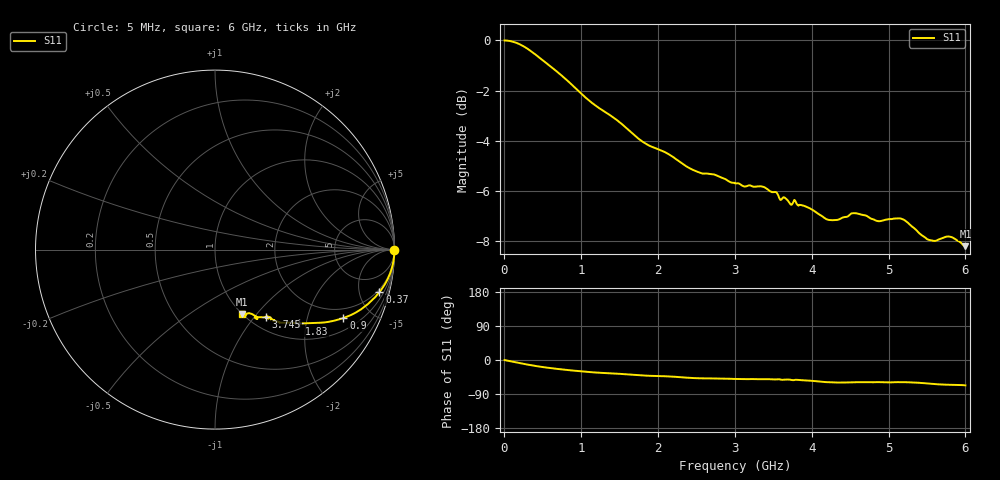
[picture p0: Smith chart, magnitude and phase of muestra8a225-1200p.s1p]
# Hz S RI R 50.000000
! Metas.Vna.Tools, 3.0.9519.15400
! Metas.Vna.Data, 3.0.9519.15360
! Created: UTC 2026.10.24 15:22:58
! FREQ  re:S1,1  im:S1,1
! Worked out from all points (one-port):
!   1200 points, 5 MHz to 6 GHz, reference 50 ohm
!   lowest |S11| = -8.2 dB at 6 GHz (marker M1), VSWR 2.27, Z = 50.1 - j42.3 ohm
!   |S11| at or under -10 dB: nowhere
!   S11 on the Smith chart (normalised r, x): 5 MHz: open; 370 MHz: 1.65, -7.51; 900 MHz: 1.52, -3.37; 1.83 GHz: 1.36, -1.83; 3.745 GHz: 1.19, -1.15; 6 GHz: 1.00, -0.85
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5000000  1 -0.00351
1.75e8  0.9791 -0.1235
3.7e8  0.9164 -0.2368
5.5e8  0.8465 -0.3082
7.55e8  0.7701 -0.3584
9e8  0.7157 -0.3808
1.15e9  0.6317 -0.4027
1.505e9  0.5513 -0.4091
1.83e9  0.4697 -0.4113
2.105e9  0.4369 -0.4074
2.255e9  0.4096 -0.4067
2.53e9  0.3637 -0.4077
2.765e9  0.3558 -0.4036
3.005e9  0.3327 -0.3981
3.395e9  0.3237 -0.3926
3.745e9  0.2841 -0.3763
3.755e9  0.2838 -0.3798
3.94e9  0.2731 -0.3772
4.23e9  0.2271 -0.3753
4.365e9  0.2227 -0.3801
4.505e9  0.2319 -0.3865
4.87e9  0.2287 -0.3716
5.15e9  0.2315 -0.3763
5.255e9  0.2242 -0.3701
5.52e9  0.1874 -0.354
5.645e9  0.1744 -0.3607
5.795e9  0.1699 -0.3693
6e9  0.1522 -0.358
